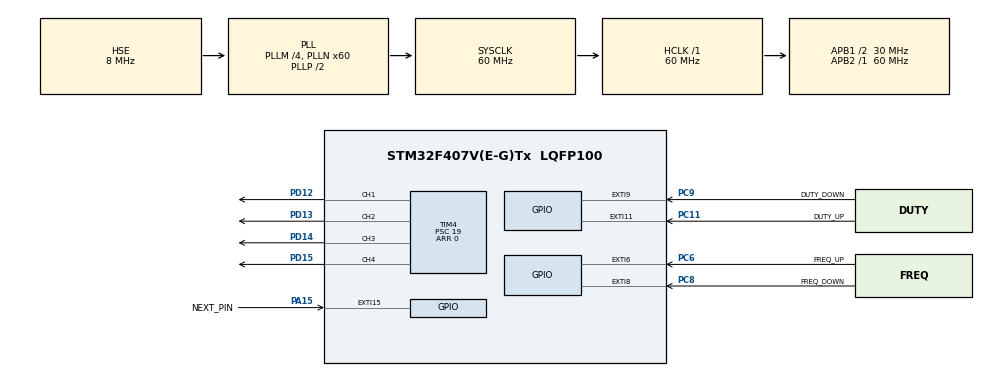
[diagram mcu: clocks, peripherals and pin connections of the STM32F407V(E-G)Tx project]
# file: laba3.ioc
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Mcu.Family=STM32F4
Mcu.Name=STM32F407V(E-G)Tx
Mcu.Package=LQFP100
NVIC.EXTI15_10_IRQn=true\:0\:0\:false\:false\:true\:true\:true
NVIC.EXTI9_5_IRQn=true\:0\:0\:false\:false\:true\:true\:true
NVIC.PriorityGroup=NVIC_PRIORITYGROUP_4
PA13.Mode=Serial_Wire
PA13.Signal=SYS_JTMS-SWDIO
PA14.Mode=Serial_Wire
PA14.Signal=SYS_JTCK-SWCLK
PA15.GPIO_Label=NEXT_PIN
PA15.GPIO_ModeDefaultEXTI=GPIO_MODE_IT_FALLING
PA15.Signal=GPXTI15
PC11.GPIO_Label=DUTY_UP
PC11.GPIO_ModeDefaultEXTI=GPIO_MODE_IT_FALLING
PC11.Signal=GPXTI11
PC6.GPIO_Label=FREQ_UP
PC6.GPIO_ModeDefaultEXTI=GPIO_MODE_IT_FALLING
PC6.Signal=GPXTI6
PC8.GPIO_Label=FREQ_DOWN
PC8.GPIO_ModeDefaultEXTI=GPIO_MODE_IT_FALLING
PC8.Signal=GPXTI8
PC9.GPIO_Label=DUTY_DOWN
PC9.GPIO_ModeDefaultEXTI=GPIO_MODE_IT_FALLING
PC9.Signal=GPXTI9
PD12.Signal=S_TIM4_CH1
PD13.Signal=S_TIM4_CH2
PD14.Signal=S_TIM4_CH3
PD15.Signal=S_TIM4_CH4
PH0-OSC_IN.Mode=HSE-External-Oscillator
PH0-OSC_IN.Signal=RCC_OSC_IN
PH1-OSC_OUT.Mode=HSE-External-Oscillator
PH1-OSC_OUT.Signal=RCC_OSC_OUT
ProjectManager.HeapSize=0x200
ProjectManager.StackSize=0x400
ProjectManager.TargetToolchain=STM32CubeIDE
RCC.48MHZClocksFreq_Value=30000000
RCC.AHBFreq_Value=60000000
RCC.APB1CLKDivider=RCC_HCLK_DIV2
RCC.APB1Freq_Value=30000000
RCC.APB1TimFreq_Value=60000000
RCC.APB2Freq_Value=60000000
RCC.APB2TimFreq_Value=60000000
RCC.CortexFreq_Value=60000000
RCC.HCLKFreq_Value=60000000
RCC.HSE_VALUE=8000000
RCC.HSI_VALUE=16000000
RCC.LSE_VALUE=32768
RCC.PLLM=4
RCC.PLLN=60
RCC.PLLSourceVirtual=RCC_PLLSOURCE_HSE
RCC.SYSCLKFreq_VALUE=60000000
RCC.SYSCLKSource=RCC_SYSCLKSOURCE_PLLCLK
RCC.VCOOutputFreq_Value=120000000
SH.S_TIM4_CH1.0=TIM4_CH1,PWM Generation1 CH1
SH.S_TIM4_CH2.0=TIM4_CH2,PWM Generation2 CH2
SH.S_TIM4_CH3.0=TIM4_CH3,PWM Generation3 CH3
SH.S_TIM4_CH4.0=TIM4_CH4,PWM Generation4 CH4
TIM4.Channel-PWM\ Generation1\ CH1=TIM_CHANNEL_1
TIM4.Channel-PWM\ Generation2\ CH2=TIM_CHANNEL_2
TIM4.Channel-PWM\ Generation3\ CH3=TIM_CHANNEL_3
TIM4.Channel-PWM\ Generation4\ CH4=TIM_CHANNEL_4
TIM4.Period=0
TIM4.Prescaler=19
TIM4.Pulse-PWM\ Generation1\ CH1=0
board=custom

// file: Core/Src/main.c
/* USER CODE BEGIN Header */
/**
  ******************************************************************************
  * @file           : main.c
  * @brief          : Main program body
  ******************************************************************************
  * @attention
  *
  * <h2><center>&copy; Copyright (c) 2021 STMicroelectronics.
  * All rights reserved.</center></h2>
  *
  * This software component is licensed by ST under BSD 3-Clause license,
  * the "License"; You may not use this file except in compliance with the
  * License. You may obtain a copy of the License at:
  *                        opensource.org/licenses/BSD-3-Clause
  *
  ******************************************************************************
  */
/* USER CODE END Header */
#include "main.h"

/* USER CODE BEGIN Includes */
#include <math.h>
/* USER CODE END Includes */

/* USER CODE BEGIN PD */
#define STEP_FREQ 5000
#define MAX_FREQ 90000
#define MIN_FREQ 5000
#define STEP_DUTY 5
#define MAX_DUTY 100
#define MIN_DUTY 0
#define PSC 20
/* USER CODE END PD */

TIM_HandleTypeDef htim4;

/* USER CODE BEGIN PV */

uint8_t duty = 50;
uint32_t frequncy = 50000;
uint32_t timer_freq;
uint16_t duty_value;
uint8_t mode = 0;
/* USER CODE END PV */

void SystemClock_Config(void);
static void MX_GPIO_Init(void);
static void MX_TIM4_Init(void);

/* USER CODE BEGIN 0 */
void set_PWM_prop(void)
{
	  TIM4->ARR = floor(timer_freq / frequncy) - 1;
	  duty_value = floor((duty * (TIM4->ARR + 1)) / 100);
}
/* USER CODE END 0 */

int main(void)
{

  /* MCU Configuration--------------------------------------------------------*/

  /* Reset of all peripherals, Initializes the Flash interface and the Systick. */
  HAL_Init();

  /* Configure the system clock */
  SystemClock_Config();

  /* Initialize all configured peripherals */
  MX_GPIO_Init();
  MX_TIM4_Init();
  /* USER CODE BEGIN 2 */
  HAL_TIM_PWM_Start(&htim4, TIM_CHANNEL_1);
  HAL_TIM_PWM_Start(&htim4, TIM_CHANNEL_2);
  HAL_TIM_PWM_Start(&htim4, TIM_CHANNEL_3);
  HAL_TIM_PWM_Start(&htim4, TIM_CHANNEL_4);
  timer_freq = (HAL_RCC_GetPCLK1Freq()*2)/PSC;
  set_PWM_prop();
  /* USER CODE END 2 */

  /* Infinite loop */
  /* USER CODE BEGIN WHILE */
  while (1)
  {
	  set_PWM_prop();
	  	switch(mode)
	  	{
	  	case 1:
	  		TIM4->CCR1 = duty_value;
	  		TIM4->CCR2 = 0;
	  		TIM4->CCR3 = 0;
	  		TIM4->CCR4 = 0;
	  		break;
	  	case 2:
	  		TIM4->CCR1 = 0;
	  		TIM4->CCR2 = duty_value;
	  		TIM4->CCR3 = 0;
	  		TIM4->CCR4 = 0;
	  		break;
	  	case 3:
	  		TIM4->CCR1 = 0;
	  		TIM4->CCR2 = 0;
	  		TIM4->CCR3 = duty_value;
	  		TIM4->CCR4 = 0;
	  		break;
	  	case 4:
	  		TIM4->CCR1 = 0;
	  		TIM4->CCR2 = 0;
	  		TIM4->CCR3 = 0;
	  		TIM4->CCR4 = duty_value;
	  		break;
	  	default:
	  		TIM4->CCR1 = 0;
	  		TIM4->CCR2 = 0;
	  		TIM4->CCR3 = 0;
	  		TIM4->CCR4 = 0;
	  		break;
	  	}
    /* USER CODE END WHILE */

  }
}

void SystemClock_Config(void)
{
  RCC_OscInitTypeDef RCC_OscInitStruct = {0};
  RCC_ClkInitTypeDef RCC_ClkInitStruct = {0};

  /** Configure the main internal regulator output voltage
  */
  __HAL_RCC_PWR_CLK_ENABLE();
  __HAL_PWR_VOLTAGESCALING_CONFIG(PWR_REGULATOR_VOLTAGE_SCALE1);
  /** Initializes the RCC Oscillators according to the specified parameters
  * in the RCC_OscInitTypeDef structure.
  */
  RCC_OscInitStruct.OscillatorType = RCC_OSCILLATORTYPE_HSE;
  RCC_OscInitStruct.HSEState = RCC_HSE_ON;
  RCC_OscInitStruct.PLL.PLLState = RCC_PLL_ON;
  RCC_OscInitStruct.PLL.PLLSource = RCC_PLLSOURCE_HSE;
  RCC_OscInitStruct.PLL.PLLM = 4;
  RCC_OscInitStruct.PLL.PLLN = 60;
  RCC_OscInitStruct.PLL.PLLP = RCC_PLLP_DIV2;
  RCC_OscInitStruct.PLL.PLLQ = 4;
  if (HAL_RCC_OscConfig(&RCC_OscInitStruct) != HAL_OK)
  {
    Error_Handler();
  }
  /** Initializes the CPU, AHB and APB buses clocks
  */
  RCC_ClkInitStruct.ClockType = RCC_CLOCKTYPE_HCLK|RCC_CLOCKTYPE_SYSCLK
                              |RCC_CLOCKTYPE_PCLK1|RCC_CLOCKTYPE_PCLK2;
  RCC_ClkInitStruct.SYSCLKSource = RCC_SYSCLKSOURCE_PLLCLK;
  RCC_ClkInitStruct.AHBCLKDivider = RCC_SYSCLK_DIV1;
  RCC_ClkInitStruct.APB1CLKDivider = RCC_HCLK_DIV2;
  RCC_ClkInitStruct.APB2CLKDivider = RCC_HCLK_DIV1;

  if (HAL_RCC_ClockConfig(&RCC_ClkInitStruct, FLASH_LATENCY_1) != HAL_OK)
  {
    Error_Handler();
  }
}

static void MX_TIM4_Init(void)
{

  TIM_MasterConfigTypeDef sMasterConfig = {0};
  TIM_OC_InitTypeDef sConfigOC = {0};

  htim4.Instance = TIM4;
  htim4.Init.Prescaler = 19;
  htim4.Init.CounterMode = TIM_COUNTERMODE_UP;
  htim4.Init.Period = 0;
  htim4.Init.ClockDivision = TIM_CLOCKDIVISION_DIV1;
  htim4.Init.AutoReloadPreload = TIM_AUTORELOAD_PRELOAD_DISABLE;
  if (HAL_TIM_PWM_Init(&htim4) != HAL_OK)
  {
    Error_Handler();
  }
  sMasterConfig.MasterOutputTrigger = TIM_TRGO_RESET;
  sMasterConfig.MasterSlaveMode = TIM_MASTERSLAVEMODE_DISABLE;
  if (HAL_TIMEx_MasterConfigSynchronization(&htim4, &sMasterConfig) != HAL_OK)
  {
    Error_Handler();
  }
  sConfigOC.OCMode = TIM_OCMODE_PWM1;
  sConfigOC.Pulse = 0;
  sConfigOC.OCPolarity = TIM_OCPOLARITY_HIGH;
  sConfigOC.OCFastMode = TIM_OCFAST_DISABLE;
  if (HAL_TIM_PWM_ConfigChannel(&htim4, &sConfigOC, TIM_CHANNEL_1) != HAL_OK)
  {
    Error_Handler();
  }
  if (HAL_TIM_PWM_ConfigChannel(&htim4, &sConfigOC, TIM_CHANNEL_2) != HAL_OK)
  {
    Error_Handler();
  }
  if (HAL_TIM_PWM_ConfigChannel(&htim4, &sConfigOC, TIM_CHANNEL_3) != HAL_OK)
  {
    Error_Handler();
  }
  if (HAL_TIM_PWM_ConfigChannel(&htim4, &sConfigOC, TIM_CHANNEL_4) != HAL_OK)
  {
    Error_Handler();
  }
  HAL_TIM_MspPostInit(&htim4);

}

static void MX_GPIO_Init(void)
{
  GPIO_InitTypeDef GPIO_InitStruct = {0};

  /* GPIO Ports Clock Enable */
  __HAL_RCC_GPIOH_CLK_ENABLE();
  __HAL_RCC_GPIOD_CLK_ENABLE();
  __HAL_RCC_GPIOC_CLK_ENABLE();
  __HAL_RCC_GPIOA_CLK_ENABLE();

  /*Configure GPIO pins : FREQ_UP_Pin FREQ_DOWN_Pin DUTY_DOWN_Pin DUTY_UP_Pin */
  GPIO_InitStruct.Pin = FREQ_UP_Pin|FREQ_DOWN_Pin|DUTY_DOWN_Pin|DUTY_UP_Pin;
  GPIO_InitStruct.Mode = GPIO_MODE_IT_FALLING;
  GPIO_InitStruct.Pull = GPIO_NOPULL;
  HAL_GPIO_Init(GPIOC, &GPIO_InitStruct);

  /*Configure GPIO pin : NEXT_PIN_Pin */
  GPIO_InitStruct.Pin = NEXT_PIN_Pin;
  GPIO_InitStruct.Mode = GPIO_MODE_IT_FALLING;
  GPIO_InitStruct.Pull = GPIO_NOPULL;
  HAL_GPIO_Init(NEXT_PIN_GPIO_Port, &GPIO_InitStruct);

  /* EXTI interrupt init*/
  HAL_NVIC_SetPriority(EXTI9_5_IRQn, 0, 0);
  HAL_NVIC_EnableIRQ(EXTI9_5_IRQn);

  HAL_NVIC_SetPriority(EXTI15_10_IRQn, 0, 0);
  HAL_NVIC_EnableIRQ(EXTI15_10_IRQn);

}

/* USER CODE BEGIN 4 */

void HAL_GPIO_EXTI_Callback(uint16_t Pin)
{
	switch (Pin)
	{
	case DUTY_UP_Pin:
		if (duty < MAX_DUTY)
			duty += STEP_DUTY;
		else
			duty = MAX_DUTY;
		break;
	case DUTY_DOWN_Pin:
		if (duty > MIN_DUTY)
			duty -= STEP_DUTY;
		else
			duty = MIN_DUTY;
		break;
	case FREQ_UP_Pin:
		if (frequncy < MAX_FREQ)
			frequncy += STEP_FREQ;
		else
			frequncy = MAX_FREQ;
		break;
	case FREQ_DOWN_Pin:
		if (frequncy > STEP_FREQ)
			frequncy -= STEP_FREQ;
		else
			frequncy = STEP_FREQ;
		break;
	case NEXT_PIN_Pin:
		if (mode < 4)
			mode++;
		else
			mode = 0;
	}

}

/* USER CODE END 4 */

void Error_Handler(void)
{
  __disable_irq();
  while (1)
  {
  }
}

/************************ (C) COPYRIGHT STMicroelectronics *****END OF FILE****/
